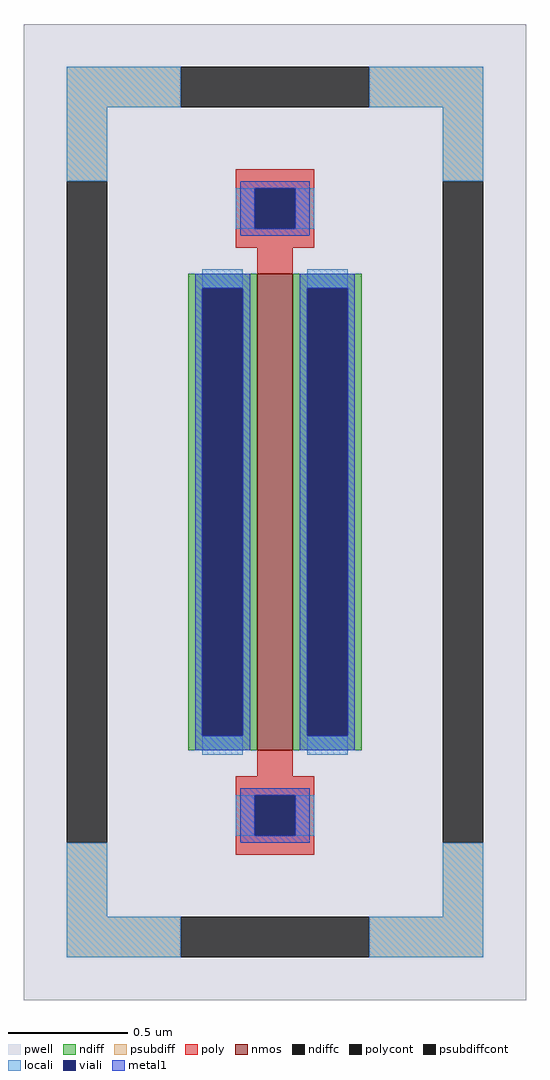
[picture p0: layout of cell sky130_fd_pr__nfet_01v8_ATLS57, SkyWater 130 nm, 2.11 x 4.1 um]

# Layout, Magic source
magic
tech sky130A
magscale 1 2
<< pwell >>
rect -211 -410 211 410
<< nmos >>
rect -15 -200 15 200
<< ndiff >>
rect -73 188 -15 200
rect -73 -188 -61 188
rect -27 -188 -15 188
rect -73 -200 -15 -188
rect 15 188 73 200
rect 15 -188 27 188
rect 61 -188 73 188
rect 15 -200 73 -188
<< ndiffc >>
rect -61 -188 -27 188
rect 27 -188 61 188
<< psubdiff >>
rect -175 340 -79 374
rect 79 340 175 374
rect -175 278 -141 340
rect 141 278 175 340
rect -175 -340 -141 -278
rect 141 -340 175 -278
rect -175 -374 -79 -340
rect 79 -374 175 -340
<< psubdiffcont >>
rect -79 340 79 374
rect -175 -278 -141 278
rect 141 -278 175 278
rect -79 -374 79 -340
<< poly >>
rect -33 272 33 288
rect -33 238 -17 272
rect 17 238 33 272
rect -33 222 33 238
rect -15 200 15 222
rect -15 -222 15 -200
rect -33 -238 33 -222
rect -33 -272 -17 -238
rect 17 -272 33 -238
rect -33 -288 33 -272
<< polycont >>
rect -17 238 17 272
rect -17 -272 17 -238
<< locali >>
rect -175 340 -79 374
rect 79 340 175 374
rect -175 278 -141 340
rect 141 278 175 340
rect -33 238 -17 272
rect 17 238 33 272
rect -61 188 -27 204
rect -61 -204 -27 -188
rect 27 188 61 204
rect 27 -204 61 -188
rect -33 -272 -17 -238
rect 17 -272 33 -238
rect -175 -340 -141 -278
rect 141 -340 175 -278
rect -175 -374 -79 -340
rect 79 -374 175 -340
<< viali >>
rect -17 238 17 272
rect -61 -188 -27 188
rect 27 -188 61 188
rect -17 -272 17 -238
<< metal1 >>
rect -29 272 29 278
rect -29 238 -17 272
rect 17 238 29 272
rect -29 232 29 238
rect -67 188 -21 200
rect -67 -188 -61 188
rect -27 -188 -21 188
rect -67 -200 -21 -188
rect 21 188 67 200
rect 21 -188 27 188
rect 61 -188 67 188
rect 21 -200 67 -188
rect -29 -238 29 -232
rect -29 -272 -17 -238
rect 17 -272 29 -238
rect -29 -278 29 -272
<< properties >>
string FIXED_BBOX -158 -357 158 357
string gencell sky130_fd_pr__nfet_01v8
string library sky130
string parameters w 2.0 l 0.15 m 1 nf 1 diffcov 100 polycov 100 guard 1 glc 1 grc 1 gtc 1 gbc 1 tbcov 100 rlcov 100 topc 1 botc 1 poverlap 0 doverlap 1 lmin 0.15 wmin 0.42 compatible {sky130_fd_pr__nfet_01v8 sky130_fd_pr__nfet_01v8_lvt  sky130_fd_bs_flash__special_sonosfet_star  sky130_fd_pr__nfet_g5v0d10v5 sky130_fd_pr__nfet_05v0_nvt  sky130_fd_pr__nfet_03v3_nvt} full_metal 1 viasrc 100 viadrn 100 viagate 100 viagb 0 viagr 0 viagl 0 viagt 0
<< end >>
